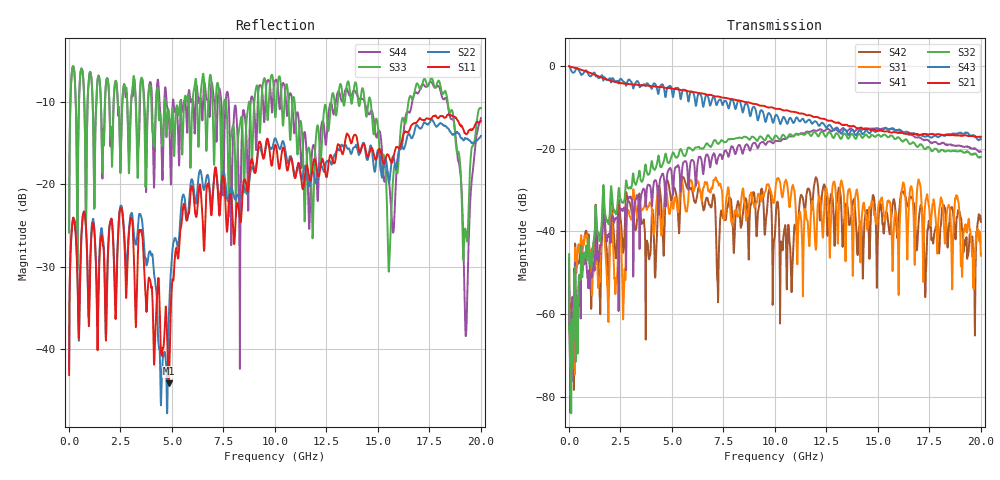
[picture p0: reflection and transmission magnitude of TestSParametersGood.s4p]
! File created by SignalIntegrity v1.1.1: Signal and Power Integrity Tools
! https://github.com/TeledyneLeCroy/SignalIntegrity
# MHz MA S R 50.0
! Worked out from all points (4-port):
!   2000 points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, 10 MHz to 20 GHz, reference 50 ohm
!   strongest paths, dB at 10 MHz, 5.01 GHz, 10.01 GHz, 15.01 GHz, 20 GHz:
!     S21: -0.1, -5.5, -10.4, -15.7, -17.1
!     S43: -0.1, -6.3, -12.2, -15.5, -17.8
!     S32: -45.5, -21.5, -16.9, -16.7, -22.0
!     S41: -48.9, -27.4, -18.1, -15.1, -20.8
!     S31: -46.4, -32.9, -30.8, -34.5, -45.9
!     S42: -53.0, -31.9, -39.8, -39.8, -37.7
!   lowest |S11| = -44.1 dB at 4.85 GHz (marker M1), VSWR 1.01, Z = 50.2 + j0.582 ohm
!   |S11| at or under -10 dB: start of sweep to end of sweep
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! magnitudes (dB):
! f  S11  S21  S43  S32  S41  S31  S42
! 10 MHz  -43.1  -0.1  -0.1  -45.5  -48.9  -46.4  -53.0
! 4.85 GHz  -44.1  -5.4  -5.0  -23.4  -25.1  -35.2  -28.8
! 5.97 GHz  -20.2  -6.3  -6.2  -20.3  -22.8  -28.0  -29.7
! 15.55 GHz  -16.7  -16.0  -15.5  -17.2  -15.3  -33.0  -40.0
! 17.93 GHz  -12.0  -16.5  -17.3  -20.7  -19.0  -37.7  -43.3
! 19.27 GHz  -13.9  -16.8  -16.1  -20.9  -19.5  -39.3  -43.0
! 20 GHz  -12.3  -17.1  -17.8  -22.0  -20.8  -45.9  -37.7
